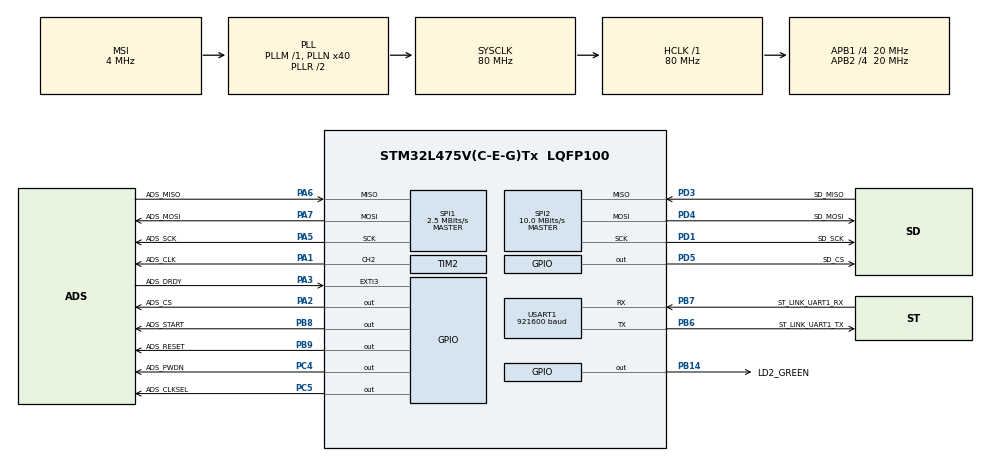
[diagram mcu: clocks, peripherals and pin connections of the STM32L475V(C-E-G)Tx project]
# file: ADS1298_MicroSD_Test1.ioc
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FATFS._FS_RPATH=1
FATFS._USE_LFN=1
Mcu.Family=STM32L4
Mcu.Name=STM32L475V(C-E-G)Tx
Mcu.Package=LQFP100
NVIC.EXTI3_IRQn=true\:0\:0\:true\:false\:true\:true\:true\:true
NVIC.PriorityGroup=NVIC_PRIORITYGROUP_4
PA1.GPIO_Label=ADS_CLK
PA1.Signal=S_TIM2_CH2
PA13\ (JTMS-SWDIO).GPIO_Label=SYS_JTMS_SWDIO
PA13\ (JTMS-SWDIO).Mode=Serial_Wire
PA13\ (JTMS-SWDIO).Signal=SYS_JTMS-SWDIO
PA14\ (JTCK-SWCLK).GPIO_Label=SYS_JTCK_SWCLK
PA14\ (JTCK-SWCLK).Mode=Serial_Wire
PA14\ (JTCK-SWCLK).Signal=SYS_JTCK-SWCLK
PA2.GPIO_Label=ADS_CS
PA2.GPIO_PuPd=GPIO_PULLUP
PA2.PinState=GPIO_PIN_RESET
PA2.Signal=GPIO_Output
PA3.GPIO_Label=ADS_DRDY
PA3.GPIO_ModeDefaultEXTI=GPIO_MODE_IT_FALLING
PA3.GPIO_PuPd=GPIO_PULLUP
PA3.Signal=GPXTI3
PA5.GPIO_Label=ADS_SCK
PA5.Mode=Full_Duplex_Master
PA5.Signal=SPI1_SCK
PA6.GPIO_Label=ADS_MISO
PA6.Mode=Full_Duplex_Master
PA6.Signal=SPI1_MISO
PA7.GPIO_Label=ADS_MOSI
PA7.Mode=Full_Duplex_Master
PA7.Signal=SPI1_MOSI
PB14.GPIO_Label=LD2_GREEN
PB14.GPIO_PuPd=GPIO_PULLDOWN
PB14.Signal=GPIO_Output
PB6.GPIO_Label=ST_LINK_UART1_TX
PB6.Mode=Asynchronous
PB6.Signal=USART1_TX
PB7.GPIO_Label=ST_LINK_UART1_RX
PB7.Mode=Asynchronous
PB7.Signal=USART1_RX
PB8.GPIO_Label=ADS_START
PB8.GPIO_PuPd=GPIO_PULLDOWN
PB8.Signal=GPIO_Output
PB9.GPIO_Label=ADS_RESET
PB9.GPIO_PuPd=GPIO_PULLUP
PB9.PinState=GPIO_PIN_RESET
PB9.Signal=GPIO_Output
PC14-OSC32_IN\ (PC14).Mode=LSE-External-Oscillator
PC14-OSC32_IN\ (PC14).Signal=RCC_OSC32_IN
PC15-OSC32_OUT\ (PC15).Mode=LSE-External-Oscillator
PC15-OSC32_OUT\ (PC15).Signal=RCC_OSC32_OUT
PC4.GPIO_Label=ADS_PWDN
PC4.GPIO_PuPd=GPIO_PULLUP
PC4.PinState=GPIO_PIN_RESET
PC4.Signal=GPIO_Output
PC5.GPIO_Label=ADS_CLKSEL
PC5.GPIO_PuPd=GPIO_PULLDOWN
PC5.PinState=GPIO_PIN_RESET
PC5.Signal=GPIO_Output
PD1.GPIO_Label=SD_SCK
PD1.Mode=Full_Duplex_Master
PD1.Signal=SPI2_SCK
PD3.GPIO_Label=SD_MISO
PD3.Mode=Full_Duplex_Master
PD3.Signal=SPI2_MISO
PD4.GPIO_Label=SD_MOSI
PD4.Mode=Full_Duplex_Master
PD4.Signal=SPI2_MOSI
PD5.GPIO_Label=SD_CS
PD5.GPIO_PuPd=GPIO_PULLUP
PD5.PinState=GPIO_PIN_SET
PD5.Signal=GPIO_Output
PH0-OSC_IN\ (PH0).Mode=HSE-External-Oscillator
PH0-OSC_IN\ (PH0).Signal=RCC_OSC_IN
PH1-OSC_OUT\ (PH1).Mode=HSE-External-Oscillator
PH1-OSC_OUT\ (PH1).Signal=RCC_OSC_OUT
ProjectManager.HeapSize=0x200
ProjectManager.StackSize=0x400
ProjectManager.TargetToolchain=MDK-ARM V5.32
RCC.ADCFreq_Value=48000000
RCC.AHBFreq_Value=80000000
RCC.APB1CLKDivider=RCC_HCLK_DIV4
RCC.APB1Freq_Value=20000000
RCC.APB1TimFreq_Value=40000000
RCC.APB2CLKDivider=RCC_HCLK_DIV4
RCC.APB2Freq_Value=20000000
RCC.APB2TimFreq_Value=40000000
RCC.CortexFreq_Value=80000000
RCC.HCLKFreq_Value=80000000
RCC.HSE_VALUE=8000000
RCC.HSI_VALUE=16000000
RCC.MSI_VALUE=4000000
RCC.PLLN=40
RCC.PLLSAI1N=24
RCC.SYSCLKFreq_VALUE=80000000
RCC.SYSCLKSource=RCC_SYSCLKSOURCE_PLLCLK
RCC.USBFreq_Value=48000000
RCC.VCOOutputFreq_Value=160000000
RTC.Date=9
RTC.Hours=11
RTC.Minutes=24
RTC.Month=RTC_MONTH_JUNE
RTC.WeekDay=RTC_WEEKDAY_FRIDAY
RTC.Year=23
SH.S_TIM2_CH2.0=TIM2_CH2,PWM Generation2 CH2
SPI1.BaudRatePrescaler=SPI_BAUDRATEPRESCALER_8
SPI1.CLKPhase=SPI_PHASE_2EDGE
SPI1.CalculateBaudRate=2.5 MBits/s
SPI1.DataSize=SPI_DATASIZE_8BIT
SPI1.Direction=SPI_DIRECTION_2LINES
SPI1.Mode=SPI_MODE_MASTER
SPI1.VirtualType=VM_MASTER
SPI2.CalculateBaudRate=10.0 MBits/s
SPI2.DataSize=SPI_DATASIZE_8BIT
SPI2.Direction=SPI_DIRECTION_2LINES
SPI2.Mode=SPI_MODE_MASTER
SPI2.VirtualType=VM_MASTER
TIM2.AutoReloadPreload=TIM_AUTORELOAD_PRELOAD_ENABLE
TIM2.Channel-PWM\ Generation2\ CH2=TIM_CHANNEL_2
TIM2.Period=20-1
TIM2.Prescaler=1-1
TIM2.Pulse-PWM\ Generation2\ CH2=10
USART1.BaudRate=921600
USART1.VirtualMode-Asynchronous=VM_ASYNC
VP_FATFS_VS_Generic.Mode=User_defined
VP_RTC_VS_RTC_Activate.Mode=RTC_Enabled
VP_RTC_VS_RTC_Calendar.Mode=RTC_Calendar
VP_TIM2_VS_ClockSourceINT.Mode=Internal
board=B-L475E-IOT01A1

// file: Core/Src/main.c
/* USER CODE BEGIN Header */
/**
  ******************************************************************************
  * @file           : main.c
  * @brief          : Main program body
  ******************************************************************************
  * @attention
  *
  * Copyright (c) 2023 STMicroelectronics.
  * All rights reserved.
  *
  * This software is licensed under terms that can be found in the LICENSE file
  * in the root directory of this software component.
  * If no LICENSE file comes with this software, it is provided AS-IS.
  *
  ******************************************************************************
  */
/* USER CODE END Header */
#include "main.h"
#include "fatfs.h"
#include "rtc.h"
#include "spi.h"
#include "tim.h"
#include "usart.h"
#include "gpio.h"

/* USER CODE BEGIN Includes */
#include <string.h>
#include <stdio.h>
#include <stdbool.h>
#include "fatfs_sd.h"
#include "ff_gen_drv.h"
#include "ADS1298.h"
/* USER CODE END Includes */

/* USER CODE BEGIN PV */
uint8_t ADS_TX_Buffer[27000] = {0};	// dummy data
uint8_t ADS_RX_Buffer[54000] = {0};
uint8_t *ADS_head = ADS_RX_Buffer;
uint8_t *ADS_mid = ADS_RX_Buffer + 27000;
uint8_t *ADS_tail = ADS_RX_Buffer + 54000;
extern uint16_t sample_cnt;
volatile uint8_t SD_WRITE_STATE = 0;  // 0: idle, 1: write first half buffer, 2: write second half buffer

RTC_TimeTypeDef TimeInfo;
RTC_DateTypeDef DateInfo;

FRESULT fres;
FATFS fs;	// file system object
FIL fil;	// pointer to file object
UINT bw;	// pointer to the variable to return number of bytes written
char FileName[20];
char FolderName[20];
/* USER CODE END PV */

void SystemClock_Config(void);

/* USER CODE BEGIN 0 */
void send_uart(char* str){
	HAL_UART_Transmit(&huart1, (uint8_t*)str, strlen(str), HAL_MAX_DELAY);
}

void SD_ErrorMessage(FRESULT fres) {
	switch(fres) {
		case FR_OK:
			send_uart("Success");
		case FR_DISK_ERR:
			send_uart("A hard error occurred in the low level disk I/O layer");
			break;
		case FR_INT_ERR:
			send_uart("Assertion failed");
			break;
		case FR_NOT_READY:
			send_uart("The physical drive cannot work");
			break;
		case FR_NO_FILE:
			send_uart("Could not find the file");
			break;
		case FR_NO_PATH:
			send_uart("Could not find the path");
			break;
		case FR_INVALID_NAME:
			send_uart("The path name format is invalid");
			break;
		case FR_DENIED:
			send_uart("Access denied due to prohibited access or directory full");
			break;
		case FR_EXIST:
			send_uart("Access denied due to prohibited access");
			break;
		case FR_INVALID_OBJECT:
			send_uart("The file/directory object is invalid");
			break;
		case FR_WRITE_PROTECTED:
			send_uart("The physical drive is write protected");
			break;
		case FR_INVALID_DRIVE:
			send_uart("The logical drive number is invalid");
			break;
		case FR_NOT_ENABLED:
			send_uart("The volume has no work area");
			break;
		case FR_NO_FILESYSTEM:
			send_uart("There is no valid FAT volume");
			break;
		case FR_MKFS_ABORTED:
			send_uart("The f_mkfs() aborted due to any problem");
			break;
		case FR_TIMEOUT:
			send_uart("Could not get a grant to access the volume within defined period");
			break;
		case FR_LOCKED:
			send_uart("The operation is rejected according to the file sharing policy");
			break;
		case FR_NOT_ENOUGH_CORE:
			send_uart("LFN working buffer could not be allocated");
			break;
		case FR_TOO_MANY_OPEN_FILES:
			send_uart("Number of open files > _FS_LOCK");
			break;
		case FR_INVALID_PARAMETER:
			send_uart("Given parameter is invalid");
			break;
	}
}
/* USER CODE END 0 */

int main(void)
{

  /* MCU Configuration--------------------------------------------------------*/

  /* Reset of all peripherals, Initializes the Flash interface and the Systick. */
  HAL_Init();

  /* Configure the system clock */
  SystemClock_Config();

  /* Initialize all configured peripherals */
  MX_GPIO_Init();
  MX_USART1_UART_Init();
  MX_SPI1_Init();
  MX_RTC_Init();
  MX_SPI2_Init();
  MX_FATFS_Init();
  MX_TIM2_Init();
  /* USER CODE BEGIN 2 */

	/****************************** MicroSD ******************************/
	/* Mount File System */
	fres = f_mount(&fs, "", 1);
//	if(fres != FR_OK) SD_ErrorMessage(fres);
//	else send_uart("SD CARD mounted successfully...\r\n");

	/* Make Directory */
	sprintf(FolderName, "20%02d.%02d.%02d", DateInfo.Year, DateInfo.Month, DateInfo.Date);
	fres = f_mkdir(FolderName);
//	if (fres != FR_OK) SD_ErrorMessage(fres);
//	else send_uart("Make Directory: Done...\n");

	/* Change Directory */
	fres = f_chdir(FolderName);
//	if (fres != FR_OK) SD_ErrorMessage(fres);
//	else send_uart("Change Path: Done...\n");
	/*********************************************************************/

	/*************** ADS1298 ***************/
	ADS_Init();
	ADS_Data_Receive();
	/***************************************/

  /* USER CODE END 2 */

  /* Infinite loop */
  /* USER CODE BEGIN WHILE */
  while (1)
  {
		if (SD_WRITE_STATE == 1) {
			HAL_RTC_GetTime(&hrtc, &TimeInfo, RTC_FORMAT_BIN);
			sprintf(FileName, "ECGPCG_%02d%02d.%02d.txt", TimeInfo.Hours, TimeInfo.Minutes, TimeInfo.Seconds);
			fres = f_open(&fil, FileName, FA_OPEN_ALWAYS | FA_READ | FA_WRITE);
//			if (fres != FR_OK) SD_ErrorMessage(fres);
			fres = f_lseek(&fil, f_size(&fil));
//			if (fres != FR_OK) SD_ErrorMessage(fres);
			fres = f_write(&fil, ADS_RX_Buffer, 27000, &bw);
//			if (fres != FR_OK) SD_ErrorMessage(fres);
			fres = f_close(&fil);
//			if (fres != FR_OK) SD_ErrorMessage(fres);

			SD_WRITE_STATE = 0;
		}
		if (SD_WRITE_STATE == 2) {
			fres = f_open(&fil, FileName, FA_OPEN_ALWAYS | FA_READ | FA_WRITE);
//			if (fres != FR_OK) SD_ErrorMessage(fres);
			fres = f_lseek(&fil, f_size(&fil));
//			if (fres != FR_OK) SD_ErrorMessage(fres);
			fres = f_write(&fil, ADS_mid, 27000, &bw);
//			if (fres != FR_OK) SD_ErrorMessage(fres);
			fres = f_close(&fil);
//			if (fres != FR_OK) SD_ErrorMessage(fres);

			SD_WRITE_STATE = 0;
		}
		if (sample_cnt == 5000) {
			send_uart("Done");
			ADS_Start(LOW);
			ADS_ChipSelect(HIGH);
			sample_cnt--;
		}
    /* USER CODE END WHILE */

  }
}

void SystemClock_Config(void)
{
  RCC_OscInitTypeDef RCC_OscInitStruct = {0};
  RCC_ClkInitTypeDef RCC_ClkInitStruct = {0};

  /** Configure the main internal regulator output voltage
  */
  if (HAL_PWREx_ControlVoltageScaling(PWR_REGULATOR_VOLTAGE_SCALE1) != HAL_OK)
  {
    Error_Handler();
  }

  /** Configure LSE Drive Capability
  */
  HAL_PWR_EnableBkUpAccess();
  __HAL_RCC_LSEDRIVE_CONFIG(RCC_LSEDRIVE_LOW);

  /** Initializes the RCC Oscillators according to the specified parameters
  * in the RCC_OscInitTypeDef structure.
  */
  RCC_OscInitStruct.OscillatorType = RCC_OSCILLATORTYPE_LSI|RCC_OSCILLATORTYPE_LSE
                              |RCC_OSCILLATORTYPE_MSI;
  RCC_OscInitStruct.LSEState = RCC_LSE_ON;
  RCC_OscInitStruct.LSIState = RCC_LSI_ON;
  RCC_OscInitStruct.MSIState = RCC_MSI_ON;
  RCC_OscInitStruct.MSICalibrationValue = 0;
  RCC_OscInitStruct.MSIClockRange = RCC_MSIRANGE_6;
  RCC_OscInitStruct.PLL.PLLState = RCC_PLL_ON;
  RCC_OscInitStruct.PLL.PLLSource = RCC_PLLSOURCE_MSI;
  RCC_OscInitStruct.PLL.PLLM = 1;
  RCC_OscInitStruct.PLL.PLLN = 40;
  RCC_OscInitStruct.PLL.PLLP = RCC_PLLP_DIV7;
  RCC_OscInitStruct.PLL.PLLQ = RCC_PLLQ_DIV2;
  RCC_OscInitStruct.PLL.PLLR = RCC_PLLR_DIV2;
  if (HAL_RCC_OscConfig(&RCC_OscInitStruct) != HAL_OK)
  {
    Error_Handler();
  }

  /** Initializes the CPU, AHB and APB buses clocks
  */
  RCC_ClkInitStruct.ClockType = RCC_CLOCKTYPE_HCLK|RCC_CLOCKTYPE_SYSCLK
                              |RCC_CLOCKTYPE_PCLK1|RCC_CLOCKTYPE_PCLK2;
  RCC_ClkInitStruct.SYSCLKSource = RCC_SYSCLKSOURCE_PLLCLK;
  RCC_ClkInitStruct.AHBCLKDivider = RCC_SYSCLK_DIV1;
  RCC_ClkInitStruct.APB1CLKDivider = RCC_HCLK_DIV4;
  RCC_ClkInitStruct.APB2CLKDivider = RCC_HCLK_DIV4;

  if (HAL_RCC_ClockConfig(&RCC_ClkInitStruct, FLASH_LATENCY_4) != HAL_OK)
  {
    Error_Handler();
  }

  /** Enable MSI Auto calibration
  */
  HAL_RCCEx_EnableMSIPLLMode();
}

void Error_Handler(void)
{
  __disable_irq();
  while (1)
  {
  }
}
